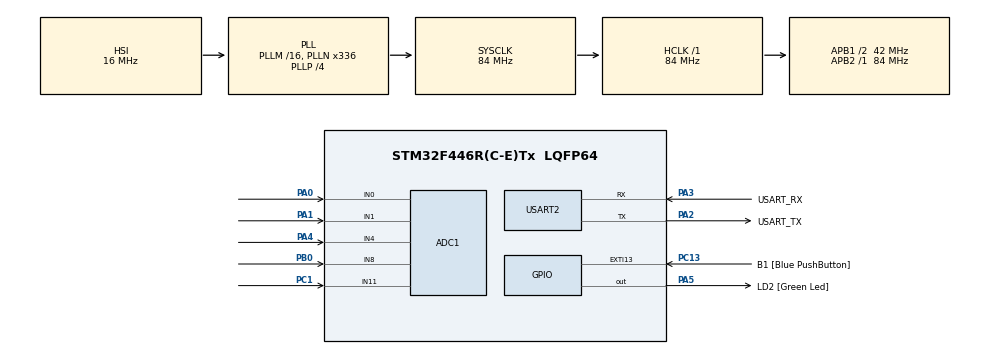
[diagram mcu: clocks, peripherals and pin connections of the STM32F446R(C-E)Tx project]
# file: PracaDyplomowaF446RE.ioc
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ADC1.Channel-0\#ChannelRegularConversion=ADC_CHANNEL_0
ADC1.Channel-1\#ChannelRegularConversion=ADC_CHANNEL_1
ADC1.Channel-2\#ChannelRegularConversion=ADC_CHANNEL_4
ADC1.Channel-7\#ChannelRegularConversion=ADC_CHANNEL_8
ADC1.Channel-8\#ChannelRegularConversion=ADC_CHANNEL_11
ADC1.InjNumberOfConversion=0
ADC1.NbrOfConversion=5
ADC1.NbrOfConversionFlag=1
ADC1.Rank-0\#ChannelRegularConversion=1
ADC1.Rank-1\#ChannelRegularConversion=2
ADC1.Rank-2\#ChannelRegularConversion=3
ADC1.Rank-7\#ChannelRegularConversion=4
ADC1.Rank-8\#ChannelRegularConversion=5
ADC1.SamplingTime-0\#ChannelRegularConversion=ADC_SAMPLETIME_480CYCLES
ADC1.SamplingTime-1\#ChannelRegularConversion=ADC_SAMPLETIME_480CYCLES
ADC1.SamplingTime-2\#ChannelRegularConversion=ADC_SAMPLETIME_480CYCLES
ADC1.SamplingTime-7\#ChannelRegularConversion=ADC_SAMPLETIME_480CYCLES
ADC1.SamplingTime-8\#ChannelRegularConversion=ADC_SAMPLETIME_480CYCLES
ADC1.master=1
Mcu.Family=STM32F4
Mcu.Name=STM32F446R(C-E)Tx
Mcu.Package=LQFP64
NVIC.PriorityGroup=NVIC_PRIORITYGROUP_0
NVIC.TIM2_IRQn=true\:0\:0\:false\:false\:true\:true\:true\:true
PA0-WKUP.Signal=ADCx_IN0
PA1.Signal=ADCx_IN1
PA13.GPIO_Label=TMS
PA13.Mode=Serial_Wire
PA13.Signal=SYS_JTMS-SWDIO
PA14.GPIO_Label=TCK
PA14.Mode=Serial_Wire
PA14.Signal=SYS_JTCK-SWCLK
PA2.GPIO_Label=USART_TX
PA2.Mode=Asynchronous
PA2.Signal=USART2_TX
PA3.GPIO_Label=USART_RX
PA3.Mode=Asynchronous
PA3.Signal=USART2_RX
PA4.Signal=ADCx_IN4
PA5.GPIO_Label=LD2 [Green Led]
PA5.Signal=GPIO_Output
PB0.Signal=ADCx_IN8
PB3.GPIO_Label=SWO
PB3.Signal=SYS_JTDO-SWO
PC1.Signal=ADCx_IN11
PC13.GPIO_Label=B1 [Blue PushButton]
PC13.GPIO_ModeDefaultEXTI=GPIO_MODE_IT_FALLING
PC13.Signal=GPXTI13
PC14-OSC32_IN.Mode=LSE-External-Oscillator
PC14-OSC32_IN.Signal=RCC_OSC32_IN
PC15-OSC32_OUT.Mode=LSE-External-Oscillator
PC15-OSC32_OUT.Signal=RCC_OSC32_OUT
PH0-OSC_IN.Mode=HSE-External-Oscillator
PH0-OSC_IN.Signal=RCC_OSC_IN
PH1-OSC_OUT.Mode=HSE-External-Oscillator
PH1-OSC_OUT.Signal=RCC_OSC_OUT
ProjectManager.HeapSize=0x200
ProjectManager.StackSize=0x400
ProjectManager.TargetToolchain=STM32CubeIDE
RCC.48MHZClocksFreq_Value=84000000
RCC.AHBFreq_Value=84000000
RCC.APB1CLKDivider=RCC_HCLK_DIV2
RCC.APB1Freq_Value=42000000
RCC.APB1TimFreq_Value=84000000
RCC.APB2Freq_Value=84000000
RCC.APB2TimFreq_Value=84000000
RCC.CortexFreq_Value=84000000
RCC.FLatency-AdvancedSettings=FLASH_LATENCY_2
RCC.HCLKFreq_Value=84000000
RCC.HSE_VALUE=8000000
RCC.HSI_VALUE=16000000
RCC.PLLN=336
RCC.PLLP=RCC_PLLP_DIV4
RCC.SYSCLKFreq_VALUE=84000000
RCC.SYSCLKSource=RCC_SYSCLKSOURCE_PLLCLK
RCC.USBFreq_Value=168000000
RCC.VCOOutputFreq_Value=336000000
SH.ADCx_IN0.0=ADC1_IN0,IN0
SH.ADCx_IN1.0=ADC1_IN1,IN1
SH.ADCx_IN11.0=ADC1_IN11,IN11
SH.ADCx_IN4.0=ADC1_IN4,IN4
SH.ADCx_IN8.0=ADC1_IN8,IN8
TIM2.Period=9-1
TIM2.Prescaler=10000-1
TIM2.TIM_MasterOutputTrigger=TIM_TRGO_UPDATE
USART2.VirtualMode=VM_ASYNC
VP_TIM2_VS_ClockSourceINT.Mode=Internal
board=NUCLEO-F446RE

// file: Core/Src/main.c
/* USER CODE BEGIN Header */
/**
 ******************************************************************************
 * @file           : main.c
 * @brief          : Main program body
 ******************************************************************************
 * @attention
 *
 * Copyright (c) 2023 STMicroelectronics.
 * All rights reserved.
 *
 * This software is licensed under terms that can be found in the LICENSE file
 * in the root directory of this software component.
 * If no LICENSE file comes with this software, it is provided AS-IS.
 *
 ******************************************************************************
 */
/* USER CODE END Header */
#include "main.h"

ADC_HandleTypeDef hadc1;
TIM_HandleTypeDef htim2;
UART_HandleTypeDef huart2;

void SystemClock_Config(void);
static void MX_GPIO_Init(void);
static void MX_USART2_UART_Init(void);
static void MX_ADC1_Init(void);
static void MX_TIM2_Init(void);

/* USER CODE BEGIN 0 */

uint16_t ADC_VAL[4];

void ADC_Select_CH0(void) {
	ADC_ChannelConfTypeDef sConfig = { 0 };
	sConfig.Channel = ADC_CHANNEL_0;
	sConfig.Rank = 1;
	sConfig.SamplingTime = ADC_SAMPLETIME_480CYCLES;
	if (HAL_ADC_ConfigChannel(&hadc1, &sConfig) != HAL_OK) {
		Error_Handler();
	}
}

void ADC_Select_CH1(void) {
	ADC_ChannelConfTypeDef sConfig = { 0 };
	sConfig.Channel = ADC_CHANNEL_1;
	sConfig.Rank = 2;
	sConfig.SamplingTime = ADC_SAMPLETIME_480CYCLES;
	if (HAL_ADC_ConfigChannel(&hadc1, &sConfig) != HAL_OK) {
		Error_Handler();
	}
}

void ADC_Select_CH4(void) {
	ADC_ChannelConfTypeDef sConfig = { 0 };
	sConfig.Channel = ADC_CHANNEL_4;
	sConfig.Rank = 4;
	sConfig.SamplingTime = ADC_SAMPLETIME_480CYCLES;
	if (HAL_ADC_ConfigChannel(&hadc1, &sConfig) != HAL_OK) {
		Error_Handler();
	}
}

void ADC_Select_CH8(void) {
	ADC_ChannelConfTypeDef sConfig = { 0 };
	sConfig.Channel = ADC_CHANNEL_8;
	sConfig.Rank = 8;
	sConfig.SamplingTime = ADC_SAMPLETIME_480CYCLES;
	if (HAL_ADC_ConfigChannel(&hadc1, &sConfig) != HAL_OK) {
		Error_Handler();
	}
}

void ADC_Select_CH11(void) {
	ADC_ChannelConfTypeDef sConfig = { 0 };
	sConfig.Channel = ADC_CHANNEL_11;
	sConfig.Rank = 11;
	sConfig.SamplingTime = ADC_SAMPLETIME_480CYCLES;
	if (HAL_ADC_ConfigChannel(&hadc1, &sConfig) != HAL_OK) {
		Error_Handler();
	}
}

/* USER CODE END 0 */

int main(void)
{

  /* MCU Configuration--------------------------------------------------------*/

  /* Reset of all peripherals, Initializes the Flash interface and the Systick. */
  HAL_Init();

  /* Configure the system clock */
  SystemClock_Config();

  /* Initialize all configured peripherals */
  MX_GPIO_Init();
  MX_USART2_UART_Init();
  MX_ADC1_Init();
  MX_TIM2_Init();
  /* USER CODE BEGIN 2 */

	// Start timer
	HAL_TIM_Base_Start_IT(&htim2);

  /* USER CODE END 2 */

  /* Infinite loop */
	while (1) {

	}
}

void SystemClock_Config(void)
{
  RCC_OscInitTypeDef RCC_OscInitStruct = {0};
  RCC_ClkInitTypeDef RCC_ClkInitStruct = {0};

  /** Configure the main internal regulator output voltage
  */
  __HAL_RCC_PWR_CLK_ENABLE();
  __HAL_PWR_VOLTAGESCALING_CONFIG(PWR_REGULATOR_VOLTAGE_SCALE3);

  /** Initializes the RCC Oscillators according to the specified parameters
  * in the RCC_OscInitTypeDef structure.
  */
  RCC_OscInitStruct.OscillatorType = RCC_OSCILLATORTYPE_HSI;
  RCC_OscInitStruct.HSIState = RCC_HSI_ON;
  RCC_OscInitStruct.HSICalibrationValue = RCC_HSICALIBRATION_DEFAULT;
  RCC_OscInitStruct.PLL.PLLState = RCC_PLL_ON;
  RCC_OscInitStruct.PLL.PLLSource = RCC_PLLSOURCE_HSI;
  RCC_OscInitStruct.PLL.PLLM = 16;
  RCC_OscInitStruct.PLL.PLLN = 336;
  RCC_OscInitStruct.PLL.PLLP = RCC_PLLP_DIV4;
  RCC_OscInitStruct.PLL.PLLQ = 2;
  RCC_OscInitStruct.PLL.PLLR = 2;
  if (HAL_RCC_OscConfig(&RCC_OscInitStruct) != HAL_OK)
  {
    Error_Handler();
  }

  /** Initializes the CPU, AHB and APB buses clocks
  */
  RCC_ClkInitStruct.ClockType = RCC_CLOCKTYPE_HCLK|RCC_CLOCKTYPE_SYSCLK
                              |RCC_CLOCKTYPE_PCLK1|RCC_CLOCKTYPE_PCLK2;
  RCC_ClkInitStruct.SYSCLKSource = RCC_SYSCLKSOURCE_PLLCLK;
  RCC_ClkInitStruct.AHBCLKDivider = RCC_SYSCLK_DIV1;
  RCC_ClkInitStruct.APB1CLKDivider = RCC_HCLK_DIV2;
  RCC_ClkInitStruct.APB2CLKDivider = RCC_HCLK_DIV1;

  if (HAL_RCC_ClockConfig(&RCC_ClkInitStruct, FLASH_LATENCY_2) != HAL_OK)
  {
    Error_Handler();
  }
}

static void MX_ADC1_Init(void)
{

  ADC_ChannelConfTypeDef sConfig = {0};

  /** Configure the global features of the ADC (Clock, Resolution, Data Alignment and number of conversion)
  */
  hadc1.Instance = ADC1;
  hadc1.Init.ClockPrescaler = ADC_CLOCK_SYNC_PCLK_DIV4;
  hadc1.Init.Resolution = ADC_RESOLUTION_12B;
  hadc1.Init.ScanConvMode = ENABLE;
  hadc1.Init.ContinuousConvMode = DISABLE;
  hadc1.Init.DiscontinuousConvMode = DISABLE;
  hadc1.Init.ExternalTrigConvEdge = ADC_EXTERNALTRIGCONVEDGE_NONE;
  hadc1.Init.ExternalTrigConv = ADC_SOFTWARE_START;
  hadc1.Init.DataAlign = ADC_DATAALIGN_RIGHT;
  hadc1.Init.NbrOfConversion = 5;
  hadc1.Init.DMAContinuousRequests = DISABLE;
  hadc1.Init.EOCSelection = ADC_EOC_SINGLE_CONV;
  if (HAL_ADC_Init(&hadc1) != HAL_OK)
  {
    Error_Handler();
  }

  /** Configure for the selected ADC regular channel its corresponding rank in the sequencer and its sample time.
  */
  sConfig.Channel = ADC_CHANNEL_0;
  sConfig.Rank = 1;
  sConfig.SamplingTime = ADC_SAMPLETIME_480CYCLES;
  if (HAL_ADC_ConfigChannel(&hadc1, &sConfig) != HAL_OK)
  {
    Error_Handler();
  }

  /** Configure for the selected ADC regular channel its corresponding rank in the sequencer and its sample time.
  */
  sConfig.Channel = ADC_CHANNEL_1;
  sConfig.Rank = 2;
  if (HAL_ADC_ConfigChannel(&hadc1, &sConfig) != HAL_OK)
  {
    Error_Handler();
  }

  /** Configure for the selected ADC regular channel its corresponding rank in the sequencer and its sample time.
  */
  sConfig.Channel = ADC_CHANNEL_4;
  sConfig.Rank = 3;
  if (HAL_ADC_ConfigChannel(&hadc1, &sConfig) != HAL_OK)
  {
    Error_Handler();
  }

  /** Configure for the selected ADC regular channel its corresponding rank in the sequencer and its sample time.
  */
  sConfig.Channel = ADC_CHANNEL_8;
  sConfig.Rank = 4;
  if (HAL_ADC_ConfigChannel(&hadc1, &sConfig) != HAL_OK)
  {
    Error_Handler();
  }

  /** Configure for the selected ADC regular channel its corresponding rank in the sequencer and its sample time.
  */
  sConfig.Channel = ADC_CHANNEL_11;
  sConfig.Rank = 5;
  if (HAL_ADC_ConfigChannel(&hadc1, &sConfig) != HAL_OK)
  {
    Error_Handler();
  }

}

static void MX_TIM2_Init(void)
{

  TIM_ClockConfigTypeDef sClockSourceConfig = {0};
  TIM_MasterConfigTypeDef sMasterConfig = {0};

  htim2.Instance = TIM2;
  htim2.Init.Prescaler = 10000-1;
  htim2.Init.CounterMode = TIM_COUNTERMODE_UP;
  htim2.Init.Period = 9-1;
  htim2.Init.ClockDivision = TIM_CLOCKDIVISION_DIV1;
  htim2.Init.AutoReloadPreload = TIM_AUTORELOAD_PRELOAD_DISABLE;
  if (HAL_TIM_Base_Init(&htim2) != HAL_OK)
  {
    Error_Handler();
  }
  sClockSourceConfig.ClockSource = TIM_CLOCKSOURCE_INTERNAL;
  if (HAL_TIM_ConfigClockSource(&htim2, &sClockSourceConfig) != HAL_OK)
  {
    Error_Handler();
  }
  sMasterConfig.MasterOutputTrigger = TIM_TRGO_UPDATE;
  sMasterConfig.MasterSlaveMode = TIM_MASTERSLAVEMODE_DISABLE;
  if (HAL_TIMEx_MasterConfigSynchronization(&htim2, &sMasterConfig) != HAL_OK)
  {
    Error_Handler();
  }

}

static void MX_USART2_UART_Init(void)
{

  huart2.Instance = USART2;
  huart2.Init.BaudRate = 115200;
  huart2.Init.WordLength = UART_WORDLENGTH_8B;
  huart2.Init.StopBits = UART_STOPBITS_1;
  huart2.Init.Parity = UART_PARITY_NONE;
  huart2.Init.Mode = UART_MODE_TX_RX;
  huart2.Init.HwFlowCtl = UART_HWCONTROL_NONE;
  huart2.Init.OverSampling = UART_OVERSAMPLING_16;
  if (HAL_UART_Init(&huart2) != HAL_OK)
  {
    Error_Handler();
  }

}

static void MX_GPIO_Init(void)
{
  GPIO_InitTypeDef GPIO_InitStruct = {0};

  /* GPIO Ports Clock Enable */
  __HAL_RCC_GPIOC_CLK_ENABLE();
  __HAL_RCC_GPIOH_CLK_ENABLE();
  __HAL_RCC_GPIOA_CLK_ENABLE();
  __HAL_RCC_GPIOB_CLK_ENABLE();

  /*Configure GPIO pin Output Level */
  HAL_GPIO_WritePin(LD2_GPIO_Port, LD2_Pin, GPIO_PIN_RESET);

  /*Configure GPIO pin : B1_Pin */
  GPIO_InitStruct.Pin = B1_Pin;
  GPIO_InitStruct.Mode = GPIO_MODE_IT_FALLING;
  GPIO_InitStruct.Pull = GPIO_NOPULL;
  HAL_GPIO_Init(B1_GPIO_Port, &GPIO_InitStruct);

  /*Configure GPIO pin : LD2_Pin */
  GPIO_InitStruct.Pin = LD2_Pin;
  GPIO_InitStruct.Mode = GPIO_MODE_OUTPUT_PP;
  GPIO_InitStruct.Pull = GPIO_NOPULL;
  GPIO_InitStruct.Speed = GPIO_SPEED_FREQ_LOW;
  HAL_GPIO_Init(LD2_GPIO_Port, &GPIO_InitStruct);

}

/* USER CODE BEGIN 4 */

void HAL_TIM_PeriodElapsedCallback(TIM_HandleTypeDef *htim) {
	// Check which version of the timer triggered this callback and toggle LED
	if (htim == &htim2)
	{

		ADC_Select_CH0();
		HAL_ADC_Start(&hadc1);
		HAL_ADC_PollForConversion(&hadc1, 1000);
		ADC_VAL[0] = HAL_ADC_GetValue(&hadc1);
		HAL_ADC_Stop(&hadc1);

		ADC_Select_CH1();
		HAL_ADC_Start(&hadc1);
		HAL_ADC_PollForConversion(&hadc1, 1000);
		ADC_VAL[1] = HAL_ADC_GetValue(&hadc1);
		HAL_ADC_Stop(&hadc1);

		ADC_Select_CH4();
		HAL_ADC_Start(&hadc1);
		HAL_ADC_PollForConversion(&hadc1, 1000);
		ADC_VAL[2] = HAL_ADC_GetValue(&hadc1);
		HAL_ADC_Stop(&hadc1);

		ADC_Select_CH8();
		HAL_ADC_Start(&hadc1);
		HAL_ADC_PollForConversion(&hadc1, 1000);
		ADC_VAL[3] = HAL_ADC_GetValue(&hadc1);
		HAL_ADC_Stop(&hadc1);

		ADC_Select_CH11();
		HAL_ADC_Start(&hadc1);
		HAL_ADC_PollForConversion(&hadc1, 1000);
		ADC_VAL[4] = HAL_ADC_GetValue(&hadc1);
		HAL_ADC_Stop(&hadc1);

		HAL_GPIO_TogglePin(LD2_GPIO_Port, LD2_Pin);

	}
}

/* USER CODE END 4 */

void Error_Handler(void)
{
	__disable_irq();
	while (1) {
	}
}
